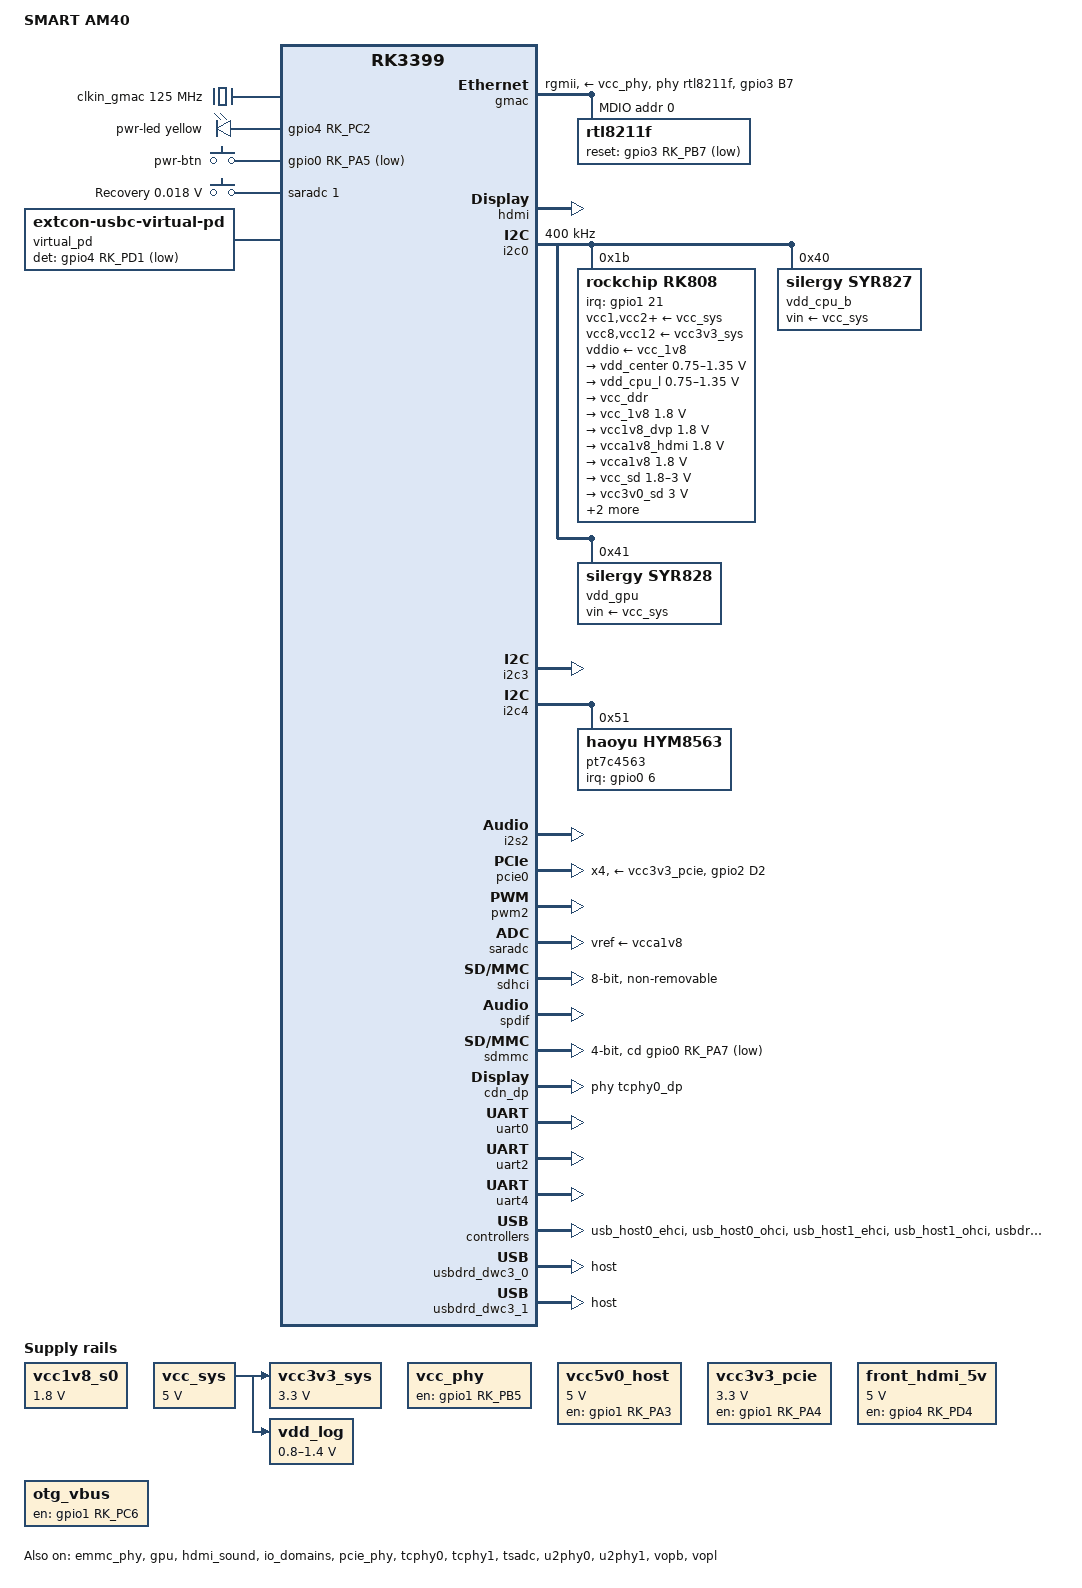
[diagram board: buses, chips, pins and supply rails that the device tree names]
// SPDX-License-Identifier: (GPL-2.0+ OR MIT)
/*
 * Copyright (c) 2017 Fuzhou Rockchip Electronics Co., Ltd.
 * Copyright (c) 2025 retro98boy <retro98boy@qq.com>
 */

/dts-v1/;

#include <dt-bindings/input/linux-event-codes.h>
#include <dt-bindings/pwm/pwm.h>
#include <dt-bindings/leds/common.h>
#include "rk3399.dtsi"

/ {
	model = "SMART AM40";
	compatible = "smart,am40", "rockchip,rk3399";

	aliases {
		ethernet0 = &gmac;
		mmc0 = &sdhci;
		mmc1 = &sdmmc;
		rtc0 = &pt7c4563;
		/*
		 * The rk808 circuit design on this board does not have the ability to maintain real-time time after a power outage.
		 * Registering rk808 as rtc99 (most kernel configurations read time from rtc0) can prevent the kernel from reading the time (2013) from rk808 during startup.
		 */
		rtc99 = &rk808;
	};

	chosen {
		stdout-path = "serial2:1500000n8";
	};

	clkin_gmac: external-gmac-clock {
		compatible = "fixed-clock";
		clock-frequency = <125000000>;
		clock-output-names = "clkin_gmac";
		#clock-cells = <0>;
	};

	gpio-leds {
		compatible = "gpio-leds";
		pinctrl-names = "default";
		pinctrl-0 = <&pwr_led>;

		pwr-led {
			function = LED_FUNCTION_POWER;
			color = <LED_COLOR_ID_YELLOW>;
			gpios = <&gpio4 RK_PC2 GPIO_ACTIVE_HIGH>;
			default-state = "on";
		};
	};

	gpio-keys {
		compatible = "gpio-keys";
		autorepeat;
		pinctrl-names = "default";
		pinctrl-0 = <&pwr_btn>;

		pwr-btn {
			debounce-interval = <100>;
			gpios = <&gpio0 RK_PA5 GPIO_ACTIVE_LOW>;
			label = "pwr-btn";
			linux,code = <KEY_POWER>;
			wakeup-source;
		};
	};

	adc-keys {
		compatible = "adc-keys";
		io-channels = <&saradc 1>;
		io-channel-names = "buttons";
		keyup-threshold-microvolt = <1800000>;
		poll-interval = <100>;

		button-recovery {
			label = "Recovery";
			linux,code = <KEY_VENDOR>;
			press-threshold-microvolt = <18000>;
		};
	};

	vcc1v8_s0: regulator-vcc1v8-s0 {
		compatible = "regulator-fixed";
		regulator-name = "vcc1v8_s0";
		regulator-always-on;
		regulator-boot-on;
		regulator-min-microvolt = <1800000>;
		regulator-max-microvolt = <1800000>;
	};

	vcc_sys: regulator-vcc-sys {
		compatible = "regulator-fixed";
		regulator-name = "vcc_sys";
		regulator-always-on;
		regulator-boot-on;
		regulator-min-microvolt = <5000000>;
		regulator-max-microvolt = <5000000>;
	};

	vcc_phy: regulator-vcc-phy {
		compatible = "regulator-fixed";
		enable-active-high;
		gpio = <&gpio1 RK_PB5 GPIO_ACTIVE_HIGH>;
		pinctrl-names = "default";
		pinctrl-0 = <&vcc_phy_en>;
		regulator-name = "vcc_phy";
		regulator-always-on;
		regulator-boot-on;
	};

	vcc3v3_sys: regulator-vcc3v3-sys {
		compatible = "regulator-fixed";
		regulator-name = "vcc3v3_sys";
		regulator-always-on;
		regulator-boot-on;
		regulator-min-microvolt = <3300000>;
		regulator-max-microvolt = <3300000>;
		vin-supply = <&vcc_sys>;
	};

	vcc5v0_host: regulator-vcc5v0-host {
		compatible = "regulator-fixed";
		enable-active-high;
		gpio = <&gpio1 RK_PA3 GPIO_ACTIVE_HIGH>;
		pinctrl-names = "default";
		pinctrl-0 = <&vcc5v0_host_en>;
		regulator-name = "vcc5v0_host";
		regulator-always-on;
		regulator-boot-on;
		regulator-min-microvolt = <5000000>;
		regulator-max-microvolt = <5000000>;
	};

	vcc3v3_pcie: regulator-vcc3v3-pcie {
		compatible = "regulator-fixed";
		enable-active-high;
		gpio = <&gpio1 RK_PA4 GPIO_ACTIVE_HIGH>;
		pinctrl-names = "default";
		pinctrl-0 = <&vcc3v3_pcie_en>;
		regulator-name = "vcc3v3_pcie";
		regulator-always-on;
		regulator-boot-on;
		regulator-min-microvolt = <3300000>;
		regulator-max-microvolt = <3300000>;
	};

	front_hdmi_5v: regulator-front-hdmi-5v {
		compatible = "regulator-fixed";
		enable-active-high;
		gpio = <&gpio4 RK_PD4 GPIO_ACTIVE_HIGH>;
		pinctrl-names = "default";
		pinctrl-0 = <&front_hdmi_5v_en>;
		regulator-name = "front_hdmi_5v";
		regulator-always-on;
		regulator-boot-on;
		regulator-min-microvolt = <5000000>;
		regulator-max-microvolt = <5000000>;
	};

	otg_vbus: regulator-otg-vbus {
		compatible = "regulator-fixed";
		enable-active-high;
		gpio = <&gpio1 RK_PC6 GPIO_ACTIVE_HIGH>;
		pinctrl-names = "default";
		pinctrl-0 = <&otg_vbus_en>;
		regulator-name = "otg_vbus";
		regulator-always-on;
		regulator-boot-on;
	};

	vdd_log: regulator-vdd-log {
		compatible = "pwm-regulator";
		pwms = <&pwm2 0 25000 1>;
		pwm-supply = <&vcc_sys>;
		regulator-name = "vdd_log";
		regulator-always-on;
		regulator-boot-on;
		regulator-min-microvolt = <800000>;
		regulator-max-microvolt = <1400000>;
	};

	virtual_pd: virtual-pd {
		compatible = "linux,extcon-usbc-virtual-pd";
		pinctrl-names = "default";
		pinctrl-0 = <&dp_hpd>;
		det-gpios = <&gpio4 RK_PD1 GPIO_ACTIVE_LOW>;
		vpd-data-role = "display-port";
		vpd-super-speed;
	};

	dp-sound {
		compatible = "simple-audio-card";
		simple-audio-card,format = "i2s";
		simple-audio-card,mclk-fs = <256>;
		simple-audio-card,name = "dp-sound";

		simple-audio-card,cpu {
			/* sound-dai = <&i2s2>; */
			sound-dai = <&spdif>;
		};

		simple-audio-card,codec {
			/* sound-dai = <&cdn_dp 0>; */
			sound-dai = <&cdn_dp 1>;
		};
	};
};

&cpu_l0 {
	cpu-supply = <&vdd_cpu_l>;
};

&cpu_l1 {
	cpu-supply = <&vdd_cpu_l>;
};

&cpu_l2 {
	cpu-supply = <&vdd_cpu_l>;
};

&cpu_l3 {
	cpu-supply = <&vdd_cpu_l>;
};

&cpu_b0 {
	cpu-supply = <&vdd_cpu_b>;
};

&cpu_b1 {
	cpu-supply = <&vdd_cpu_b>;
};

&emmc_phy {
	status = "okay";
};

&gmac {
	assigned-clock-parents = <&clkin_gmac>;
	assigned-clocks = <&cru SCLK_RMII_SRC>;
	clock_in_out = "input";
	pinctrl-names = "default";
	pinctrl-0 = <&rgmii_pins>, <&phy_rst_l>;
	phy-handle = <&rtl8211f>;
	phy-mode = "rgmii";
	phy-supply = <&vcc_phy>;
	tx_delay = <0x28>;
	rx_delay = <0x11>;
	status = "okay";

	mdio {
		compatible = "snps,dwmac-mdio";
		#address-cells = <1>;
		#size-cells = <0>;

		rtl8211f: rtl8211f@0 {
			reg = <0>;
			reset-assert-us = <10000>;
			reset-deassert-us = <30000>;
			reset-gpios = <&gpio3 RK_PB7 GPIO_ACTIVE_LOW>;
			realtek,led-data = <0x820b>;
		};
	};
};

&gpu {
	mali-supply = <&vdd_gpu>;
	status = "okay";
};

&hdmi {
	avdd-0v9-supply = <&vcca0v9_hdmi>;
	avdd-1v8-supply = <&vcca1v8_hdmi>;
	ddc-i2c-bus = <&i2c3>;
	pinctrl-names = "default";
	pinctrl-0 = <&hdmi_cec>;
	status = "okay";
};

&hdmi_sound {
	status = "okay";
};

&i2c0 {
	clock-frequency = <400000>;
	i2c-scl-rising-time-ns = <168>;
	i2c-scl-falling-time-ns = <4>;
	status = "okay";

	rk808: pmic@1b {
		compatible = "rockchip,rk808";
		reg = <0x1b>;
		interrupt-parent = <&gpio1>;
		interrupts = <21 IRQ_TYPE_LEVEL_LOW>;
		#clock-cells = <1>;
		clock-output-names = "xin32k", "rk808-clkout2";
		pinctrl-names = "default";
		pinctrl-0 = <&pmic_int_l>;
		system-power-controller;
		wakeup-source;

		vcc1-supply = <&vcc_sys>;
		vcc2-supply = <&vcc_sys>;
		vcc3-supply = <&vcc_sys>;
		vcc4-supply = <&vcc_sys>;
		vcc6-supply = <&vcc_sys>;
		vcc7-supply = <&vcc_sys>;
		vcc8-supply = <&vcc3v3_sys>;
		vcc9-supply = <&vcc_sys>;
		vcc10-supply = <&vcc_sys>;
		vcc11-supply = <&vcc_sys>;
		vcc12-supply = <&vcc3v3_sys>;
		vddio-supply = <&vcc_1v8>;

		regulators {
			vdd_center: DCDC_REG1 {
				regulator-name = "vdd_center";
				regulator-always-on;
				regulator-boot-on;
				regulator-min-microvolt = <750000>;
				regulator-max-microvolt = <1350000>;
				regulator-ramp-delay = <6001>;
				regulator-state-mem {
					regulator-off-in-suspend;
				};
			};

			vdd_cpu_l: DCDC_REG2 {
				regulator-name = "vdd_cpu_l";
				regulator-always-on;
				regulator-boot-on;
				regulator-min-microvolt = <750000>;
				regulator-max-microvolt = <1350000>;
				regulator-ramp-delay = <6001>;
				regulator-state-mem {
					regulator-off-in-suspend;
				};
			};

			vcc_ddr: DCDC_REG3 {
				regulator-name = "vcc_ddr";
				regulator-always-on;
				regulator-boot-on;
				regulator-state-mem {
					regulator-on-in-suspend;
				};
			};

			vcc_1v8: DCDC_REG4 {
				regulator-name = "vcc_1v8";
				regulator-always-on;
				regulator-boot-on;
				regulator-min-microvolt = <1800000>;
				regulator-max-microvolt = <1800000>;
				regulator-state-mem {
					regulator-on-in-suspend;
					regulator-suspend-microvolt = <1800000>;
				};
			};

			vcc1v8_dvp: LDO_REG1 {
				regulator-name = "vcc1v8_dvp";
				regulator-always-on;
				regulator-boot-on;
				regulator-min-microvolt = <1800000>;
				regulator-max-microvolt = <1800000>;
				regulator-state-mem {
					regulator-off-in-suspend;
				};
			};

			vcca1v8_hdmi: LDO_REG2 {
				regulator-name = "vcca1v8_hdmi";
				regulator-min-microvolt = <1800000>;
				regulator-max-microvolt = <1800000>;
				regulator-state-mem {
					regulator-off-in-suspend;
				};
			};

			vcca1v8: LDO_REG3 {
				regulator-name = "vcca1v8";
				regulator-always-on;
				regulator-boot-on;
				regulator-min-microvolt = <1800000>;
				regulator-max-microvolt = <1800000>;
				regulator-state-mem {
					regulator-on-in-suspend;
					regulator-suspend-microvolt = <1800000>;
				};
			};

			vcc_sd: LDO_REG4 {
				regulator-name = "vcc_sd";
				regulator-always-on;
				regulator-boot-on;
				regulator-min-microvolt = <1800000>;
				regulator-max-microvolt = <3000000>;
				regulator-state-mem {
					regulator-off-in-suspend;
				};
			};

			vcc3v0_sd: LDO_REG5 {
				regulator-name = "vcc3v0_sd";
				regulator-always-on;
				regulator-boot-on;
				regulator-min-microvolt = <3000000>;
				regulator-max-microvolt = <3000000>;
				regulator-state-mem {
					regulator-off-in-suspend;
				};
			};

			vcc_1v5: LDO_REG6 {
				regulator-name = "vcc_1v5";
				regulator-always-on;
				regulator-boot-on;
				regulator-min-microvolt = <1500000>;
				regulator-max-microvolt = <1500000>;
				regulator-state-mem {
					regulator-off-in-suspend;
				};
			};

			vcca0v9_hdmi: LDO_REG7 {
				regulator-name = "vcca0v9_hdmi";
				regulator-always-on;
				regulator-boot-on;
				regulator-min-microvolt = <900000>;
				regulator-max-microvolt = <900000>;
				regulator-state-mem {
					regulator-off-in-suspend;
				};
			};

			vcc_3v0: LDO_REG8 {
				regulator-name = "vcc_3v0";
				regulator-always-on;
				regulator-boot-on;
				regulator-min-microvolt = <3000000>;
				regulator-max-microvolt = <3000000>;
				regulator-state-mem {
					regulator-off-in-suspend;
				};
			};

			vcc3v3_s3: SWITCH_REG1 {
				regulator-name = "vcc3v3_s3";
				regulator-always-on;
				regulator-boot-on;
				regulator-state-mem {
					regulator-on-in-suspend;
				};
			};

			vcc3v3_s0: SWITCH_REG2 {
				regulator-name = "vcc3v3_s0";
				regulator-state-mem {
					regulator-off-in-suspend;
				};
			};
		};
	};

	vdd_cpu_b: regulator@40 {
		compatible = "silergy,syr827";
		reg = <0x40>;
		fcs,suspend-voltage-selector = <1>;
		pinctrl-names = "default";
		pinctrl-0 = <&vsel1_pin>;
		regulator-name = "vdd_cpu_b";
		regulator-min-microvolt = <712500>;
		regulator-max-microvolt = <1500000>;
		regulator-ramp-delay = <1000>;
		regulator-always-on;
		regulator-boot-on;
		vin-supply = <&vcc_sys>;

		regulator-state-mem {
			regulator-off-in-suspend;
		};
	};

	vdd_gpu: regulator@41 {
		compatible = "silergy,syr828";
		reg = <0x41>;
		fcs,suspend-voltage-selector = <1>;
		pinctrl-names = "default";
		pinctrl-0 = <&vsel2_pin>;
		regulator-name = "vdd_gpu";
		regulator-min-microvolt = <712500>;
		regulator-max-microvolt = <1500000>;
		regulator-ramp-delay = <1000>;
		regulator-always-on;
		regulator-boot-on;
		vin-supply = <&vcc_sys>;

		regulator-state-mem {
			regulator-off-in-suspend;
		};
	};
};

&i2c3 {
	status = "okay";
};

&i2c4 {
	status = "okay";
	i2c-scl-rising-time-ns = <300>;
	i2c-scl-falling-time-ns = <300>;

	pt7c4563: rtc@51 {
		compatible = "haoyu,hym8563";
		reg = <0x51>;
		#clock-cells = <0>;
		clock-output-names = "rtc_xin32k";
		wakeup-source;
		interrupt-parent = <&gpio0>;
		interrupts = <6 IRQ_TYPE_LEVEL_LOW>;
		pinctrl-0 = <&rtc_int>;
		pinctrl-names = "default";
	};
};

&i2s2 {
	status = "okay";
};

&io_domains {
	bt656-supply = <&vcc1v8_s0>;
	audio-supply = <&vcc1v8_s0>;
	sdmmc-supply = <&vcc_sd>;
	gpio1830-supply = <&vcc_3v0>;
	status = "okay";
};

&pcie0 {
	ep-gpios = <&gpio0 RK_PB5 GPIO_ACTIVE_HIGH>;
	num-lanes = <4>;
	pinctrl-0 = <&pcie_clkreqn>;
	pinctrl-names = "default";
	vpcie3v3-supply = <&vcc3v3_pcie>;
	status = "okay";
};

&pcie_phy {
	status = "okay";
};

&pinctrl {
	buttons {
		pwr_btn: pwr-btn {
			rockchip,pins = <0 RK_PA5 RK_FUNC_GPIO &pcfg_pull_up>;
		};
	};

	display {
		dp_hpd: dp-hpd {
			rockchip,pins = <4 RK_PD1 RK_FUNC_GPIO &pcfg_input_pull_up>;
		};

		front_hdmi_5v_en: front-hdmi-5v-en {
			rockchip,pins = <4 RK_PD4 RK_FUNC_GPIO &pcfg_pull_none>;
		};
	};

	gmac {
		phy_rst_l: phy-rst-l {
			rockchip,pins = <3 RK_PB7 RK_FUNC_GPIO &pcfg_pull_none>;
		};

		vcc_phy_en: vcc-phy-en {
			rockchip,pins = <1 RK_PB5 RK_FUNC_GPIO &pcfg_pull_none>;
		};
	};

	leds {
		pwr_led: pwr-led {
			rockchip,pins = <4 RK_PC2 RK_FUNC_GPIO &pcfg_pull_none>;
		};
	};

	pcie {
		pcie_clkreqn: pci-clkreqn {
			rockchip,pins = <2 RK_PD2 2 &pcfg_pull_none>;
		};

		vcc3v3_pcie_en: vcc3v3-pcie-en {
			rockchip,pins = <1 RK_PA4 RK_FUNC_GPIO &pcfg_pull_none>;
		};
	};

	pmic {
		pmic_int_l: pmic-int-l {
			rockchip,pins = <1 RK_PC5 RK_FUNC_GPIO &pcfg_pull_up>;
		};

		vsel1_pin: vsel1-pin {
			rockchip,pins = <1 RK_PC1 RK_FUNC_GPIO &pcfg_pull_down>;
		};

		vsel2_pin: vsel2-pin {
			rockchip,pins = <1 RK_PB6 RK_FUNC_GPIO &pcfg_pull_down>;
		};
	};

	rtc {
		rtc_int: rtc-int {
			rockchip,pins = <0 RK_PA6 RK_FUNC_GPIO &pcfg_pull_up>;
		};
	};

	usb {
		vcc5v0_host_en: vcc5v0-hots-en {
			rockchip,pins = <1 RK_PA3 RK_FUNC_GPIO &pcfg_pull_none>;
		};

		otg_vbus_en: otg-vbus-en {
			rockchip,pins = <1 RK_PC6 RK_FUNC_GPIO &pcfg_pull_none>;
		};
	};
};

&pmu_io_domains {
	pmu1830-supply = <&vcc_1v8>;
	status = "okay";
};

&pwm2 {
	status = "okay";
};

&saradc {
	vref-supply = <&vcca1v8>;
	status = "okay";
};

&sdhci {
	max-frequency = <150000000>;
	bus-width = <8>;
	mmc-hs400-1_8v;
	mmc-hs400-enhanced-strobe;
	non-removable;
	status = "okay";
};

&spdif {
	status = "okay";
};

&sdmmc {
	bus-width = <4>;
	cap-mmc-highspeed;
	cap-sd-highspeed;
	cd-gpios = <&gpio0 RK_PA7 GPIO_ACTIVE_LOW>;
	disable-wp;
	max-frequency = <150000000>;
	pinctrl-names = "default";
	pinctrl-0 = <&sdmmc_clk &sdmmc_cd &sdmmc_cmd &sdmmc_bus4>;
	vqmmc-supply = <&vcc_sd>;
	sd-uhs-sdr104;
	status = "okay";
};

&cdn_dp {
	phys = <&tcphy0_dp>;
	extcon = <&virtual_pd>;
	status = "okay";
};

&tcphy0 {
	extcon = <&virtual_pd>;
	status = "okay";
};

&tcphy1 {
	status = "okay";
};

&tsadc {
	/* tshut mode 0:CRU 1:GPIO */
	rockchip,hw-tshut-mode = <1>;
	/* tshut polarity 0:LOW 1:HIGH */
	rockchip,hw-tshut-polarity = <1>;
	status = "okay";
};

&u2phy0 {
	status = "okay";

	u2phy0_otg: otg-port {
		status = "okay";
	};

	u2phy0_host: host-port {
		phy-supply = <&vcc5v0_host>;
		status = "okay";
	};
};

&u2phy1 {
	status = "okay";

	u2phy1_otg: otg-port {
		status = "okay";
	};

	u2phy1_host: host-port {
		phy-supply = <&vcc5v0_host>;
		status = "okay";
	};
};

&uart0 {
	status = "okay";
};

&uart2 {
	status = "okay";
};

&uart4 {
	status = "okay";
};

&usb_host0_ehci {
	status = "okay";
};

&usb_host0_ohci {
	status = "okay";
};

&usb_host1_ehci {
	status = "okay";
};

&usb_host1_ohci {
	status = "okay";
};

&usbdrd3_0 {
	status = "okay";
};

&usbdrd_dwc3_0 {
	dr_mode = "host";
	status = "okay";
};

&usbdrd3_1 {
	status = "okay";
};

&usbdrd_dwc3_1 {
	dr_mode = "host";
	status = "okay";
};

&vopb {
	status = "okay";
};

&vopb_mmu {
	status = "okay";
};

&vopl {
	status = "okay";
};

&vopl_mmu {
	status = "okay";
};

&vopl_out_dp {
	status = "disabled";
};

&dp_in_vopl {
	status = "disabled";
};

&vopb_out_hdmi {
	status = "disabled";
};

&hdmi_in_vopb {
	status = "disabled";
};
